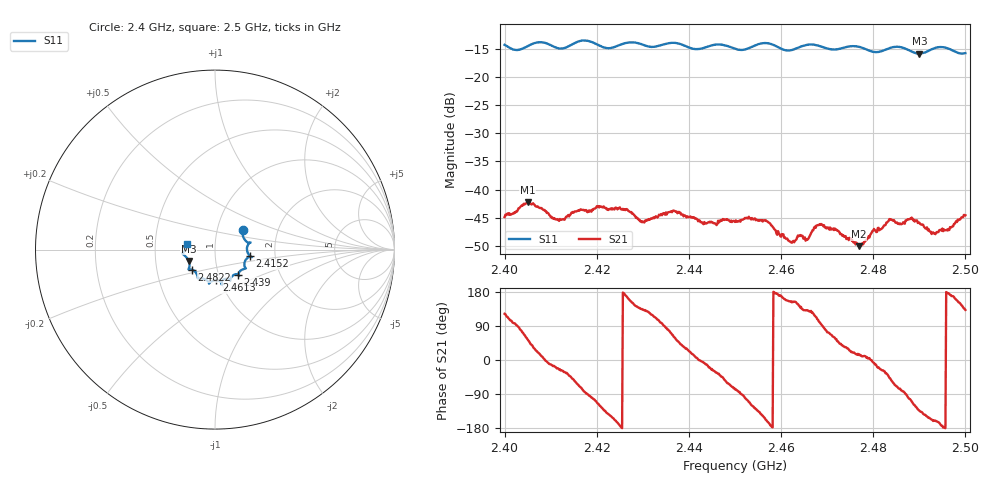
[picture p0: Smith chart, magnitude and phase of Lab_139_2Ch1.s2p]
# Hz S RI R 50
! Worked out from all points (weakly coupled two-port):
!   601 points, 2.4 GHz to 2.5 GHz, reference 50 ohm
!   highest |S21| = -42.21 dB at 2.405 GHz (marker M1); lowest = -50.0 dB at 2.4768 GHz (marker M2)
!   lowest |S11| = -15.9 dB at 2.49 GHz (marker M3), VSWR 1.38, Z = 36.9 - j4.81 ohm
!   |S11| at or under -10 dB: start of sweep to end of sweep
!   S12 and S22 are empty: the file has one direction only
!   S11 on the Smith chart (normalised r, x): 2.4 GHz: 1.33, +0.31; 2.4152 GHz: 1.48, -0.11; 2.439 GHz: 1.24, -0.36; 2.4613 GHz: 0.96, -0.34; 2.4822 GHz: 0.76, -0.17; 2.5 GHz: 0.73, +0.05
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2.4e9  0.1559 0.1112  -0.00302 0.00485  0 0  0 0
2.405e9  0.1822 0.04  0.00456 0.00627  0 0  0 0
2.411333e9  0.1794 0.016  0.00503 -0.00205  0 0  0 0
2.415167e9  0.1949 -0.0363  0.00366 -0.00522  0 0  0 0
2.416667e9  0.2044 -0.0423  0.00182 -0.00638  0 0  0 0
2.422333e9  0.1674 -0.0636  -0.00527 -0.00424  0 0  0 0
2.426167e9  0.17 -0.1023  -0.0065 0.000981  0 0  0 0
2.43e9  0.1589 -0.1087  -0.00354 0.00385  0 0  0 0
2.433333e9  0.1324 -0.1327  -0.00157 0.00555  0 0  0 0
2.439e9  0.1279 -0.139  0.00495 0.00325  0 0  0 0
2.45e9  0.0687 -0.1632  0.00112 -0.00505  0 0  0 0
2.456667e9  0.0394 -0.195  -0.00496 -0.00204  0 0  0 0
2.461333e9  0.00775 -0.1706  -0.00339 0.00144  0 0  0 0
2.4655e9  -0.0328 -0.1883  -0.00241 0.00273  0 0  0 0
2.466667e9  -0.0331 -0.1902  -0.0024 0.00348  0 0  0 0
2.468833e9  -0.0348 -0.1811  -0.000152 0.00487  0 0  0 0
2.476833e9  -0.0953 -0.158  0.00307 0.000722  0 0  0 0
2.482167e9  -0.1285 -0.112  0.00415 -0.00215  0 0  0 0
2.483333e9  -0.1398 -0.1103  0.00384 -0.00362  0 0  0 0
2.49e9  -0.147 -0.0635  -0.00351 -0.0037  0 0  0 0
2.493167e9  -0.1765 -0.0266  -0.00383 -0.00144  0 0  0 0
2.5e9  -0.1583 0.0337  -0.00397 0.00439  0 0  0 0
